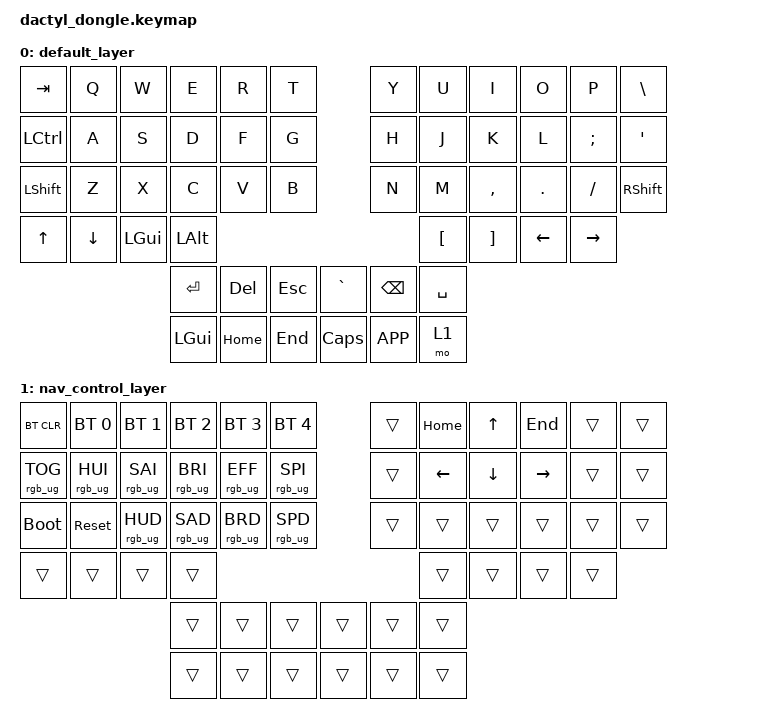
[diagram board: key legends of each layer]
// Operative keymap for the dactyl dongle. The dongle is the split central,
// so it owns the keymap — the halves' keymaps are inert in dongle mode. User
// configs override this with their own dactyl_dongle.keymap (an existing
// dactyl.keymap is NOT picked up for this shield).
//
// Byte-identical in intent to boards/shields/dactyl/dactyl.keymap: base
// layer ported from the wired vial-qmk manuform_letters_only default, plus a
// nav (right hand) + wireless-control (left hand) layer on MO(1).

#include <behaviors.dtsi>
#include <dt-bindings/zmk/bt.h>
#include <dt-bindings/zmk/keys.h>
#include <dt-bindings/zmk/rgb.h>

/ {
    keymap {
        compatible = "zmk,keymap";

        default_layer {
            bindings = <
&kp TAB    &kp Q     &kp W     &kp E     &kp R     &kp T                 &kp Y      &kp U     &kp I      &kp O     &kp P     &kp BSLH
&kp LCTRL  &kp A     &kp S     &kp D     &kp F     &kp G                 &kp H      &kp J     &kp K      &kp L     &kp SEMI  &kp SQT
&kp LSHFT  &kp Z     &kp X     &kp C     &kp V     &kp B                 &kp N      &kp M     &kp COMMA  &kp DOT   &kp FSLH  &kp RSHFT
&kp UP     &kp DOWN  &kp LGUI  &kp LALT                                             &kp LBKT  &kp RBKT   &kp LEFT  &kp RIGHT
                               &kp RET   &kp DEL   &kp ESC     &kp GRAVE  &kp BSPC  &kp SPACE
                               &kp LGUI  &kp HOME  &kp END     &kp CAPS   &kp K_APP &mo 1
            >;
        };

        nav_control_layer {
            bindings = <
&bt BT_CLR       &bt BT_SEL 0     &bt BT_SEL 1     &bt BT_SEL 2     &bt BT_SEL 3     &bt BT_SEL 4                &trans  &kp HOME  &kp UP    &kp END    &trans  &trans
&rgb_ug RGB_TOG  &rgb_ug RGB_HUI  &rgb_ug RGB_SAI  &rgb_ug RGB_BRI  &rgb_ug RGB_EFF  &rgb_ug RGB_SPI             &trans  &kp LEFT  &kp DOWN  &kp RIGHT  &trans  &trans
&bootloader      &sys_reset       &rgb_ug RGB_HUD  &rgb_ug RGB_SAD  &rgb_ug RGB_BRD  &rgb_ug RGB_SPD             &trans  &trans    &trans    &trans     &trans  &trans
&trans           &trans           &trans           &trans                                                                &trans    &trans    &trans     &trans
                                                    &trans           &trans           &trans      &trans  &trans  &trans
                                                    &trans           &trans           &trans      &trans  &trans  &trans
            >;
        };
    };
};
